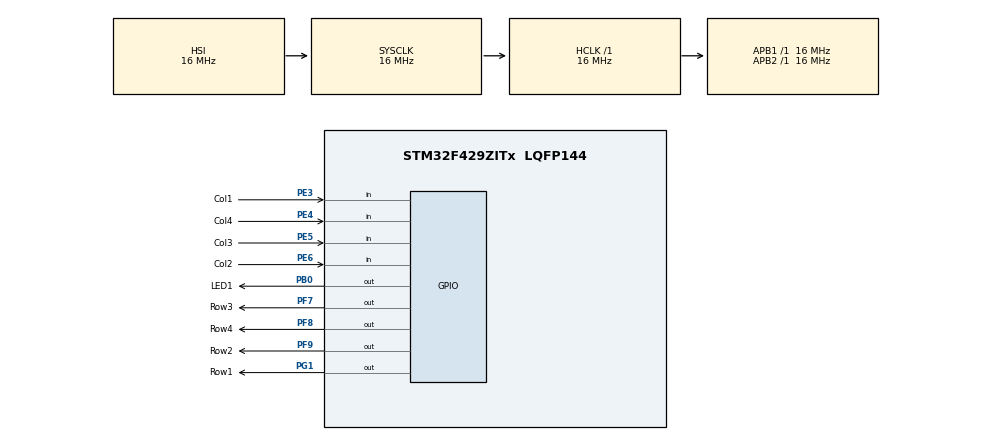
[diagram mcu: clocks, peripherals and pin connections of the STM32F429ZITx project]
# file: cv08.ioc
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Mcu.Family=STM32F4
Mcu.Name=STM32F429ZITx
Mcu.Package=LQFP144
NVIC.PriorityGroup=NVIC_PRIORITYGROUP_4
NVIC.TIM2_IRQn=true\:0\:0\:false\:false\:true\:true\:true
PB0.GPIO_Label=LED1
PB0.Signal=GPIO_Output
PE3.GPIO_Label=Col1
PE3.Signal=GPIO_Input
PE4.GPIO_Label=Col4
PE4.Signal=GPIO_Input
PE5.GPIO_Label=Col3
PE5.Signal=GPIO_Input
PE6.GPIO_Label=Col2
PE6.Signal=GPIO_Input
PF7.GPIO_Label=Row3
PF7.GPIO_ModeDefaultOutputPP=GPIO_MODE_OUTPUT_OD
PF7.GPIO_PuPd=GPIO_PULLUP
PF7.Signal=GPIO_Output
PF8.GPIO_Label=Row4
PF8.GPIO_ModeDefaultOutputPP=GPIO_MODE_OUTPUT_OD
PF8.GPIO_PuPd=GPIO_PULLUP
PF8.Signal=GPIO_Output
PF9.GPIO_Label=Row2
PF9.GPIO_ModeDefaultOutputPP=GPIO_MODE_OUTPUT_OD
PF9.GPIO_PuPd=GPIO_PULLUP
PF9.Signal=GPIO_Output
PG1.GPIO_Label=Row1
PG1.GPIO_ModeDefaultOutputPP=GPIO_MODE_OUTPUT_OD
PG1.GPIO_PuPd=GPIO_PULLUP
PG1.Signal=GPIO_Output
ProjectManager.HeapSize=0x200
ProjectManager.StackSize=0x400
ProjectManager.TargetToolchain=STM32CubeIDE
RCC.AHBFreq_Value=16000000
RCC.APB1Freq_Value=16000000
RCC.APB2Freq_Value=16000000
RCC.CortexFreq_Value=16000000
RCC.HSE_VALUE=25000000
RCC.HSI_VALUE=16000000
RCC.LSE_VALUE=32768
RCC.SYSCLKFreq_VALUE=16000000
RCC.VCOOutputFreq_Value=192000000
TIM2.Period=99
TIM2.Prescaler=8399
VP_TIM2_VS_ClockSourceINT.Mode=Internal
board=NUCLEO-F429ZI

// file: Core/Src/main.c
/* USER CODE BEGIN Header */
/**
 ******************************************************************************
 * @file           : main.c
 * @brief          : Main program body
 ******************************************************************************
 * @attention
 *
 * <h2><center>&copy; Copyright (c) 2020 STMicroelectronics.
 * All rights reserved.</center></h2>
 *
 * This software component is licensed by ST under BSD 3-Clause license,
 * the "License"; You may not use this file except in compliance with the
 * License. You may obtain a copy of the License at:
 *                        opensource.org/licenses/BSD-3-Clause
 *
 ******************************************************************************
 */
/* USER CODE END Header */

#include "main.h"

/* USER CODE BEGIN Includes */
#include <stdio.h>
/* USER CODE END Includes */

/* USER CODE BEGIN PD */
#define TIMEOUT 5000
#define code_length 5
/* USER CODE END PD */

TIM_HandleTypeDef htim2;

/* USER CODE BEGIN PV */
static volatile int key = -1;
static const uint8_t code[code_length] = { 7, 9, 3, 2, 12 };
/* USER CODE END PV */

void SystemClock_Config(void);
static void MX_GPIO_Init(void);
static void MX_TIM2_Init(void);

/* USER CODE BEGIN 0 */
int __io_putchar(int ch)
{
	ITM_SendChar(ch); return 0;
}
/* USER CODE END 0 */

int main(void)
{

	/* MCU Configuration--------------------------------------------------------*/

	/* Reset of all peripherals, Initializes the Flash interface and the Systick. */
	HAL_Init();

	/* Configure the system clock */
	SystemClock_Config();

	/* Initialize all configured peripherals */
	MX_GPIO_Init();
	MX_TIM2_Init();
	/* USER CODE BEGIN 2 */
	HAL_TIM_Base_Start_IT(&htim2);
	static uint8_t NMBR_pressed[code_length];
	uint8_t i = 0, right_combination = 0;
	uint32_t delay = 0;
	/* USER CODE END 2 */

	/* Infinite loop */
	while (1)
	{

		/* USER CODE BEGIN 3 */

		if (key != -1)                                               //stlacenie tlacitka
		{
			delay = HAL_GetTick();
			NMBR_pressed[i] = key;
			printf("Stlacene cislo: %d\n", key);
			i++;

			if (NMBR_pressed[i] == code[i])                          //postupna kontrola kodu
			{
				right_combination++;
				printf("Spravne cislo kodu \n");
			}
			else                                                     //zla kombinacia
			{
				i = 0;
				right_combination = 0;
				printf("Zle cislo kodu \n");
			}

			if (i == 5)
			{
				if (right_combination == code_length)
				{
					printf("Spravna kombinacia \n");                 //spravna kombinacia
					HAL_GPIO_WritePin(LED1_GPIO_Port, LED1_Pin, 1);
				}
				HAL_Delay(5000);
				i = 0;                                               //nulovanie do povodneho stavu
				right_combination = 0;
				HAL_GPIO_WritePin(LED1_GPIO_Port, LED1_Pin, 0);
				printf("Nulovanie \n");

			}
			HAL_Delay(200);
			key = -1;
		}

		if (HAL_GetTick()-delay > TIMEOUT)                           //TIMEOUT 5 sekund nestlacenia
		{
			printf("Time out\n");
			i = 0;
			right_combination = 0;
		}

	}
	/* USER CODE END 3 */
}

void SystemClock_Config(void)
{
	RCC_OscInitTypeDef RCC_OscInitStruct = {0};
	RCC_ClkInitTypeDef RCC_ClkInitStruct = {0};

	/** Configure the main internal regulator output voltage
	 */
	__HAL_RCC_PWR_CLK_ENABLE();
	__HAL_PWR_VOLTAGESCALING_CONFIG(PWR_REGULATOR_VOLTAGE_SCALE3);
	/** Initializes the CPU, AHB and APB busses clocks
	 */
	RCC_OscInitStruct.OscillatorType = RCC_OSCILLATORTYPE_HSI;
	RCC_OscInitStruct.HSIState = RCC_HSI_ON;
	RCC_OscInitStruct.HSICalibrationValue = RCC_HSICALIBRATION_DEFAULT;
	RCC_OscInitStruct.PLL.PLLState = RCC_PLL_NONE;
	if (HAL_RCC_OscConfig(&RCC_OscInitStruct) != HAL_OK)
	{
		Error_Handler();
	}
	/** Initializes the CPU, AHB and APB busses clocks
	 */
	RCC_ClkInitStruct.ClockType = RCC_CLOCKTYPE_HCLK|RCC_CLOCKTYPE_SYSCLK
			|RCC_CLOCKTYPE_PCLK1|RCC_CLOCKTYPE_PCLK2;
	RCC_ClkInitStruct.SYSCLKSource = RCC_SYSCLKSOURCE_HSI;
	RCC_ClkInitStruct.AHBCLKDivider = RCC_SYSCLK_DIV1;
	RCC_ClkInitStruct.APB1CLKDivider = RCC_HCLK_DIV1;
	RCC_ClkInitStruct.APB2CLKDivider = RCC_HCLK_DIV1;

	if (HAL_RCC_ClockConfig(&RCC_ClkInitStruct, FLASH_LATENCY_0) != HAL_OK)
	{
		Error_Handler();
	}
}

static void MX_TIM2_Init(void)
{

	TIM_ClockConfigTypeDef sClockSourceConfig = {0};
	TIM_MasterConfigTypeDef sMasterConfig = {0};

	htim2.Instance = TIM2;
	htim2.Init.Prescaler = 8399;
	htim2.Init.CounterMode = TIM_COUNTERMODE_UP;
	htim2.Init.Period = 99;
	htim2.Init.ClockDivision = TIM_CLOCKDIVISION_DIV1;
	htim2.Init.AutoReloadPreload = TIM_AUTORELOAD_PRELOAD_DISABLE;
	if (HAL_TIM_Base_Init(&htim2) != HAL_OK)
	{
		Error_Handler();
	}
	sClockSourceConfig.ClockSource = TIM_CLOCKSOURCE_INTERNAL;
	if (HAL_TIM_ConfigClockSource(&htim2, &sClockSourceConfig) != HAL_OK)
	{
		Error_Handler();
	}
	sMasterConfig.MasterOutputTrigger = TIM_TRGO_RESET;
	sMasterConfig.MasterSlaveMode = TIM_MASTERSLAVEMODE_DISABLE;
	if (HAL_TIMEx_MasterConfigSynchronization(&htim2, &sMasterConfig) != HAL_OK)
	{
		Error_Handler();
	}

}

static void MX_GPIO_Init(void)
{
	GPIO_InitTypeDef GPIO_InitStruct = {0};

	/* GPIO Ports Clock Enable */
	__HAL_RCC_GPIOE_CLK_ENABLE();
	__HAL_RCC_GPIOF_CLK_ENABLE();
	__HAL_RCC_GPIOB_CLK_ENABLE();
	__HAL_RCC_GPIOG_CLK_ENABLE();

	/*Configure GPIO pin Output Level */
	HAL_GPIO_WritePin(GPIOF, Row3_Pin|Row4_Pin|Row2_Pin, GPIO_PIN_RESET);

	/*Configure GPIO pin Output Level */
	HAL_GPIO_WritePin(LED1_GPIO_Port, LED1_Pin, GPIO_PIN_RESET);

	/*Configure GPIO pin Output Level */
	HAL_GPIO_WritePin(Row1_GPIO_Port, Row1_Pin, GPIO_PIN_RESET);

	/*Configure GPIO pins : Col1_Pin Col4_Pin Col3_Pin Col2_Pin */
	GPIO_InitStruct.Pin = Col1_Pin|Col4_Pin|Col3_Pin|Col2_Pin;
	GPIO_InitStruct.Mode = GPIO_MODE_INPUT;
	GPIO_InitStruct.Pull = GPIO_NOPULL;
	HAL_GPIO_Init(GPIOE, &GPIO_InitStruct);

	/*Configure GPIO pins : Row3_Pin Row4_Pin Row2_Pin */
	GPIO_InitStruct.Pin = Row3_Pin|Row4_Pin|Row2_Pin;
	GPIO_InitStruct.Mode = GPIO_MODE_OUTPUT_OD;
	GPIO_InitStruct.Pull = GPIO_PULLUP;
	GPIO_InitStruct.Speed = GPIO_SPEED_FREQ_LOW;
	HAL_GPIO_Init(GPIOF, &GPIO_InitStruct);

	/*Configure GPIO pin : LED1_Pin */
	GPIO_InitStruct.Pin = LED1_Pin;
	GPIO_InitStruct.Mode = GPIO_MODE_OUTPUT_PP;
	GPIO_InitStruct.Pull = GPIO_NOPULL;
	GPIO_InitStruct.Speed = GPIO_SPEED_FREQ_LOW;
	HAL_GPIO_Init(LED1_GPIO_Port, &GPIO_InitStruct);

	/*Configure GPIO pin : Row1_Pin */
	GPIO_InitStruct.Pin = Row1_Pin;
	GPIO_InitStruct.Mode = GPIO_MODE_OUTPUT_OD;
	GPIO_InitStruct.Pull = GPIO_PULLUP;
	GPIO_InitStruct.Speed = GPIO_SPEED_FREQ_LOW;
	HAL_GPIO_Init(Row1_GPIO_Port, &GPIO_InitStruct);

}

/* USER CODE BEGIN 4 */
void HAL_TIM_PeriodElapsedCallback(TIM_HandleTypeDef *htim)
{
	static int row = 0;
	static const int keyboard[4][4] = {
			{ 1, 2, 3, 21 },
			{ 4, 5, 6, 22 },
			{ 7, 8, 9, 23 },
			{ 11, 0, 12, 24 },
	};
	if (key == -1)
	{
		if (HAL_GPIO_ReadPin(Col1_GPIO_Port, Col1_Pin) == GPIO_PIN_RESET) key = keyboard[row][0];
		if (HAL_GPIO_ReadPin(Col2_GPIO_Port, Col2_Pin) == GPIO_PIN_RESET) key = keyboard[row][1];
		if (HAL_GPIO_ReadPin(Col3_GPIO_Port, Col3_Pin) == GPIO_PIN_RESET) key = keyboard[row][2];
		if (HAL_GPIO_ReadPin(Col4_GPIO_Port, Col4_Pin) == GPIO_PIN_RESET) key = keyboard[row][3];
	}

	HAL_GPIO_WritePin(Row1_GPIO_Port, Row1_Pin, GPIO_PIN_SET);
	HAL_GPIO_WritePin(Row2_GPIO_Port, Row2_Pin, GPIO_PIN_SET);
	HAL_GPIO_WritePin(Row3_GPIO_Port, Row3_Pin, GPIO_PIN_SET);
	HAL_GPIO_WritePin(Row4_GPIO_Port, Row1_Pin, GPIO_PIN_SET);

	switch (row)
	{
	case 0: row = 1; HAL_GPIO_WritePin(Row1_GPIO_Port, Row1_Pin, GPIO_PIN_RESET); break;
	case 1: row = 2; HAL_GPIO_WritePin(Row2_GPIO_Port, Row2_Pin, GPIO_PIN_RESET); break;
	case 2: row = 3; HAL_GPIO_WritePin(Row3_GPIO_Port, Row3_Pin, GPIO_PIN_RESET); break;
	case 3: row = 0; HAL_GPIO_WritePin(Row4_GPIO_Port, Row4_Pin, GPIO_PIN_RESET); break;
	}
}
/* USER CODE END 4 */

void Error_Handler(void)
{
}

/************************ (C) COPYRIGHT STMicroelectronics *****END OF FILE****/
